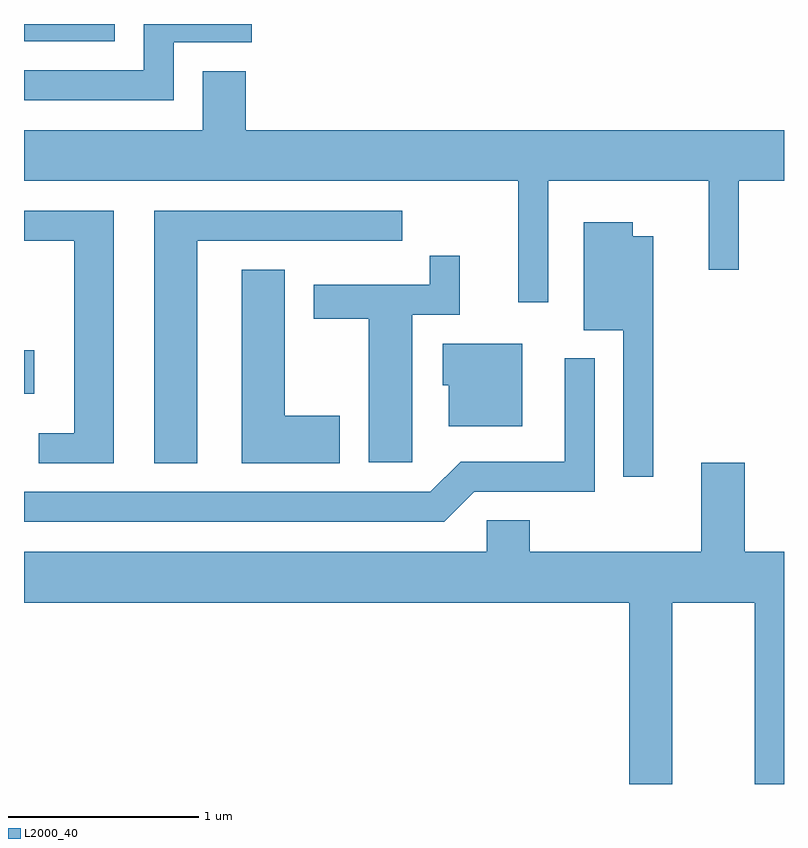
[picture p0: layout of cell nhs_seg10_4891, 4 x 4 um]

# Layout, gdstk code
import gdstk
lib = gdstk.Library(unit=1e-6, precision=1e-09)
def R(c, l, rs):  # rectangles x0, y0, x1, y1
    for r in rs: c.add(gdstk.rectangle(r[:2], r[2:], *l))
def P(c, l, *ps):  # polygons
    for p in ps: c.add(gdstk.Polygon(p, *l))
L2000_40 = (2000, 40)

nhs_seg10_4891 = lib.new_cell('nhs_seg10_4891')
R(nhs_seg10_4891, L2000_40, [(329.611,2110.576,329.664,2110.804), (329.611,2112.431,330.089,2112.522)])
P(nhs_seg10_4891, L2000_40, [(330.399,2112.426),(330.809,2112.426),(330.809,2112.522),(330.241,2112.522),(330.241,2112.279),(329.611,2112.279),(329.611,2112.121),(330.399,2112.121)],
  [(332.369,2111.696),(333.216,2111.696),(333.216,2111.228),(333.374,2111.228),(333.374,2111.696),(333.611,2111.696),(333.611,2111.964),(330.779,2111.964),(330.779,2112.274),(330.551,2112.274),(330.551,2111.964),(329.611,2111.964),(329.611,2111.696),(332.211,2111.696),(332.211,2111.058),(332.369,2111.058)],
  [(330.524,2111.381),(331.603,2111.381),(331.603,2111.539),(330.296,2111.539),(330.296,2110.211),(330.524,2110.211)],
  [(330.084,2111.539),(329.611,2111.539),(329.611,2111.381),(329.876,2111.381),(329.876,2110.369),(329.688,2110.369),(329.688,2110.211),(330.084,2110.211)],
  [(332.924,2111.404),(332.814,2111.404),(332.814,2111.479),(332.556,2111.479),(332.556,2110.911),(332.766,2110.911),(332.766,2110.138),(332.924,2110.138)],
  [(331.654,2110.991),(331.904,2110.991),(331.904,2111.303),(331.746,2111.303),(331.746,2111.149),(331.136,2111.149),(331.136,2110.971),(331.426,2110.971),(331.426,2110.216),(331.654,2110.216)],
  [(331.274,2110.459),(330.984,2110.459),(330.984,2111.229),(330.756,2111.229),(330.756,2110.211),(331.274,2110.211)],
  [(332.234,2110.839),(331.816,2110.839),(331.816,2110.621),(331.846,2110.621),(331.846,2110.406),(332.234,2110.406)],
  [(331.982,2110.061),(332.614,2110.061),(332.614,2110.763),(332.456,2110.763),(332.456,2110.219),(331.909,2110.219),(331.749,2110.059),(329.611,2110.059),(329.611,2109.901),(331.822,2109.901)],
  [(333.024,2109.476),(333.456,2109.476),(333.456,2108.522),(333.611,2108.522),(333.611,2109.744),(333.404,2109.744),(333.404,2110.214),(333.176,2110.214),(333.176,2109.744),(332.274,2109.744),(332.274,2109.909),(332.046,2109.909),(332.046,2109.744),(329.611,2109.744),(329.611,2109.476),(332.796,2109.476),(332.796,2108.522),(333.024,2108.522)])

lib.write_gds('nhs_seg10_4891.gds')
